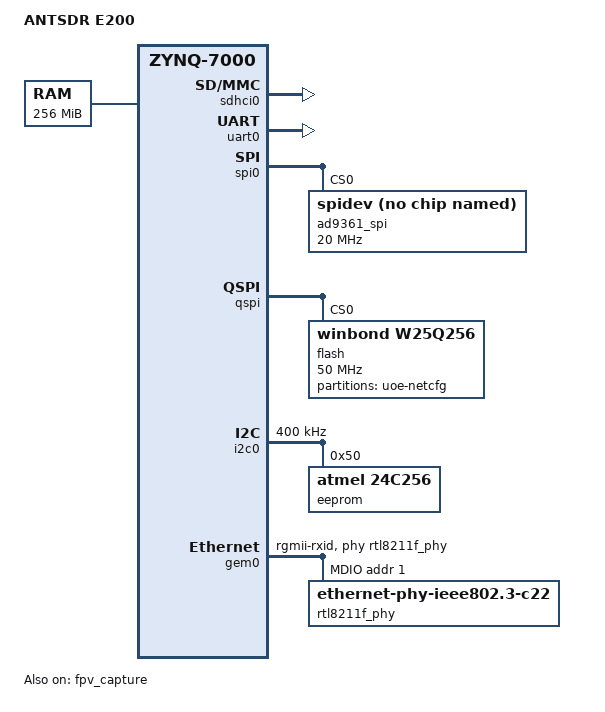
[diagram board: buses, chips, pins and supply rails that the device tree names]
/ {
	model = "ANTSDR E200";
	compatible = "microphase,antsdr-e200", "xlnx,zynq-7000";

	chosen {
		bootargs = "console=ttyPS0,115200 earlycon=cdns,mmio,0xe0000000 root=/dev/ram rw mem=256M cma=128M";
		stdout-path = "serial0:115200n8";
	};

	aliases {
		ethernet0 = &gem0;
		serial0 = &uart0;
		serial1 = &uart1;
		mmc0 = &sdhci0;
		spi0 = &spi0;
		spi1 = &qspi;
		i2c0 = &i2c0;
	};

	memory@0 {
		device_type = "memory";
		reg = <0x0 0x10000000>;
	};
};

&sdhci0 {
	status = "okay";
	disable-wp;
};

&uart0 {
	status = "okay";
};

&spi0 {
	status = "okay";
	num-cs = <1>;
	is-decoded-cs = <0>;

	ad9361_spi: ad9361@0 {
		compatible = "rohm,dh2228fv";
		reg = <0>;
		spi-max-frequency = <20000000>;
	};
};

&qspi {
	status = "okay";
	is-dual = <0>;
	num-cs = <1>;

	flash@0 {
		compatible = "winbond,w25q256", "jedec,spi-nor";
		reg = <0x0>;
		spi-tx-bus-width = <1>;
		spi-rx-bus-width = <4>;
		spi-max-frequency = <50000000>;
		#address-cells = <1>;
		#size-cells = <1>;

		partition@1fe0000 {
			label = "uoe-netcfg";
			reg = <0x01fe0000 0x00010000>;
		};
	};
};

&i2c0 {
	status = "okay";
	clock-frequency = <400000>;

	eeprom@50 {
		compatible = "atmel,24c256";
		reg = <0x50>;
	};
};

&gpio0 {
	status = "okay";
};

&clkc {
	fclk-enable = <0xf>;
};

// PS GEM0 -> EMIO GMII -> PL GMII/RGMII bridge -> RTL8211F.
// Match the verified antsdr-fw-patch E200 PHY mode and bridge parameters.
// B19 PHY reset stays high in the FPGA shell. Read the PHY ID over MDIO:
// forcing a PHY ID creates a device even if the hardware does not respond.
&gem0 {
    status = "okay";
    phy-mode = "rgmii-rxid";
    phy-handle = <&rtl8211f_phy>;
    local-mac-address = [00 0a 35 00 00 00];
    #address-cells = <1>;
    #size-cells = <0>;

    // Merge into the MDIO bus generated from the XSA. Reuse its converter
    // node instead of declaring another node/label at the same address.
    mdio {
        #address-cells = <1>;
        #size-cells = <0>;
        rtl8211f_phy: ethernet-phy@1 {
            compatible = "ethernet-phy-ieee802.3-c22";
            reg = <1>;
        };
    };
};

&gmii_to_rgmii_0 {
    phy-handle = <&rtl8211f_phy>;
};

// Shared capture control is implemented in top-level RTL, outside the BD.
/ {
    fpv_capture: fpv-capture@43c30000 {
        compatible = "fpv,e200-capture-1.0";
        reg = <0x43c30000 0x10000>;
        dmas = <&fpv_dma 1>; // Xilinx DMA channel 1 = S2MM
        dma-names = "rx";
        status = "okay";
    };
};
